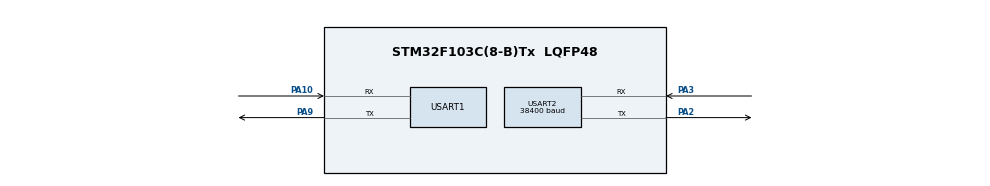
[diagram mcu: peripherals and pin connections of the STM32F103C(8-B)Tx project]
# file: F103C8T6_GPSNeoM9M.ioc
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Mcu.Family=STM32F1
Mcu.Name=STM32F103C(8-B)Tx
Mcu.Package=LQFP48
NVIC.PriorityGroup=NVIC_PRIORITYGROUP_4
NVIC.USART2_IRQn=true\:0\:0\:false\:false\:true\:true\:true\:true
PA10.Mode=Asynchronous
PA10.Signal=USART1_RX
PA13.Mode=Serial_Wire
PA13.Signal=SYS_JTMS-SWDIO
PA14.Mode=Serial_Wire
PA14.Signal=SYS_JTCK-SWCLK
PA2.Mode=Asynchronous
PA2.Signal=USART2_TX
PA3.Mode=Asynchronous
PA3.Signal=USART2_RX
PA9.Mode=Asynchronous
PA9.Signal=USART1_TX
PC14-OSC32_IN.Mode=LSE-External-Oscillator
PC14-OSC32_IN.Signal=RCC_OSC32_IN
PC15-OSC32_OUT.Mode=LSE-External-Oscillator
PC15-OSC32_OUT.Signal=RCC_OSC32_OUT
PD0-OSC_IN.Mode=HSE-External-Oscillator
PD0-OSC_IN.Signal=RCC_OSC_IN
PD1-OSC_OUT.Mode=HSE-External-Oscillator
PD1-OSC_OUT.Signal=RCC_OSC_OUT
ProjectManager.HeapSize=0x200
ProjectManager.StackSize=0x400
ProjectManager.TargetToolchain=STM32CubeIDE
RCC.APB1Freq_Value=8000000
RCC.APB2Freq_Value=8000000
USART1.VirtualMode=VM_ASYNC
USART2.BaudRate=38400
USART2.VirtualMode=VM_ASYNC
board=custom

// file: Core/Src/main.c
/* USER CODE BEGIN Header */
/**
 ******************************************************************************
 * @file           : main.c
 * @brief          : Main program body
 ******************************************************************************
 * @attention
 *
 * Copyright (c) 2025 STMicroelectronics.
 * All rights reserved.
 *
 * This software is licensed under terms that can be found in the LICENSE file
 * in the root directory of this software component.
 * If no LICENSE file comes with this software, it is provided AS-IS.
 *
 ******************************************************************************
 */
/* USER CODE END Header */
#include "main.h"

/* USER CODE BEGIN Includes */
#include <stdio.h>
#include <string.h>
#include <stdlib.h>
/* USER CODE END Includes */

UART_HandleTypeDef huart1;
UART_HandleTypeDef huart2;

/* USER CODE BEGIN PV */
#define GPS_BUFFER_SIZE 256
uint8_t rx2_byte;
volatile char gps_buffer[GPS_BUFFER_SIZE];
volatile uint16_t gps_index = 0;
volatile uint8_t sentence_ready = 0;
char nmea_sentence[GPS_BUFFER_SIZE];
/* USER CODE END PV */

void SystemClock_Config(void);
static void MX_GPIO_Init(void);
static void MX_USART1_UART_Init(void);
static void MX_USART2_UART_Init(void);
/* USER CODE BEGIN PFP */
void parse_nmea(char *nmea);
void process_gpgga(char *sentence);
void process_gprmc(char *sentence);

/* USER CODE END PFP */

/* USER CODE BEGIN 0 */
int _write(int file, char *ptr, int len) {
	HAL_UART_Transmit(&huart1, (uint8_t*) ptr, len, HAL_MAX_DELAY);
	return len;
}
/* USER CODE END 0 */

int main(void) {

	/* MCU Configuration--------------------------------------------------------*/

	/* Reset of all peripherals, Initializes the Flash interface and the Systick. */
	HAL_Init();

	/* Configure the system clock */
	SystemClock_Config();

	/* Initialize all configured peripherals */
	MX_GPIO_Init();
	MX_USART1_UART_Init();
	MX_USART2_UART_Init();
	/* USER CODE BEGIN 2 */
	printf("\r\n7Semi NEO-M9N GPS Reader (STM32)\r\n");
	printf("Waiting for satellite data...\r\n\r\n");

	HAL_UART_Receive_IT(&huart2, &rx2_byte, 1);
	/* USER CODE END 2 */

	/* Infinite loop */
	while (1) {

		/* USER CODE BEGIN 3 */
		if (sentence_ready) {
			__disable_irq();
			strcpy(nmea_sentence, (char*) gps_buffer);
			sentence_ready = 0;
			__enable_irq();

			parse_nmea(nmea_sentence);
		}
	}
	/* USER CODE END 3 */
}

void SystemClock_Config(void) {
	RCC_OscInitTypeDef RCC_OscInitStruct = { 0 };
	RCC_ClkInitTypeDef RCC_ClkInitStruct = { 0 };

	/** Initializes the RCC Oscillators according to the specified parameters
	 * in the RCC_OscInitTypeDef structure.
	 */
	RCC_OscInitStruct.OscillatorType = RCC_OSCILLATORTYPE_HSI;
	RCC_OscInitStruct.HSIState = RCC_HSI_ON;
	RCC_OscInitStruct.HSICalibrationValue = RCC_HSICALIBRATION_DEFAULT;
	RCC_OscInitStruct.PLL.PLLState = RCC_PLL_NONE;
	if (HAL_RCC_OscConfig(&RCC_OscInitStruct) != HAL_OK) {
		Error_Handler();
	}

	/** Initializes the CPU, AHB and APB buses clocks
	 */
	RCC_ClkInitStruct.ClockType = RCC_CLOCKTYPE_HCLK | RCC_CLOCKTYPE_SYSCLK
			| RCC_CLOCKTYPE_PCLK1 | RCC_CLOCKTYPE_PCLK2;
	RCC_ClkInitStruct.SYSCLKSource = RCC_SYSCLKSOURCE_HSI;
	RCC_ClkInitStruct.AHBCLKDivider = RCC_SYSCLK_DIV1;
	RCC_ClkInitStruct.APB1CLKDivider = RCC_HCLK_DIV1;
	RCC_ClkInitStruct.APB2CLKDivider = RCC_HCLK_DIV1;

	if (HAL_RCC_ClockConfig(&RCC_ClkInitStruct, FLASH_LATENCY_0) != HAL_OK) {
		Error_Handler();
	}
}

static void MX_USART1_UART_Init(void) {

	huart1.Instance = USART1;
	huart1.Init.BaudRate = 115200;
	huart1.Init.WordLength = UART_WORDLENGTH_8B;
	huart1.Init.StopBits = UART_STOPBITS_1;
	huart1.Init.Parity = UART_PARITY_NONE;
	huart1.Init.Mode = UART_MODE_TX_RX;
	huart1.Init.HwFlowCtl = UART_HWCONTROL_NONE;
	huart1.Init.OverSampling = UART_OVERSAMPLING_16;
	if (HAL_UART_Init(&huart1) != HAL_OK) {
		Error_Handler();
	}

}

static void MX_USART2_UART_Init(void) {

	huart2.Instance = USART2;
	huart2.Init.BaudRate = 38400;
	huart2.Init.WordLength = UART_WORDLENGTH_8B;
	huart2.Init.StopBits = UART_STOPBITS_1;
	huart2.Init.Parity = UART_PARITY_NONE;
	huart2.Init.Mode = UART_MODE_TX_RX;
	huart2.Init.HwFlowCtl = UART_HWCONTROL_NONE;
	huart2.Init.OverSampling = UART_OVERSAMPLING_16;
	if (HAL_UART_Init(&huart2) != HAL_OK) {
		Error_Handler();
	}

}

static void MX_GPIO_Init(void) {

	/* GPIO Ports Clock Enable */
	__HAL_RCC_GPIOC_CLK_ENABLE();
	__HAL_RCC_GPIOD_CLK_ENABLE();
	__HAL_RCC_GPIOA_CLK_ENABLE();

}

/* USER CODE BEGIN 4 */
void HAL_UART_RxCpltCallback(UART_HandleTypeDef *huart) {
	if (huart->Instance == USART2) {
		if (rx2_byte == '\n') {
			gps_buffer[gps_index] = '\0';
			gps_index = 0;
			sentence_ready = 1;
		} else {
			if (gps_index < GPS_BUFFER_SIZE - 1)
				gps_buffer[gps_index++] = rx2_byte;
		}

		HAL_UART_Receive_IT(&huart2, &rx2_byte, 1);
	}
}

void parse_nmea(char *nmea) {
	if (strstr(nmea, "$GPGGA") || strstr(nmea, "$GNGGA")) {
		process_gpgga(nmea);
	} else if (strstr(nmea, "$GPRMC") || strstr(nmea, "$GNRMC")) {
		process_gprmc(nmea);
	}
}

// --- GGA: Altitude, Satellites, HDOP ---
void process_gpgga(char *sentence) {
	char copy[GPS_BUFFER_SIZE];
	strcpy(copy, sentence);

	char *fields[15];
	int i = 0;
	char *token = strtok(copy, ",");
	while (token && i < 15) {
		fields[i++] = token;
		token = strtok(NULL, ",");
	}

	if (i < 10)
		return;

	double raw_lat = atof(fields[2]);
	double raw_lon = atof(fields[4]);
	char ns = fields[3][0];
	char ew = fields[5][0];
	int sats = atoi(fields[7]);
	double hdop = atof(fields[8]);
	double alt = atof(fields[9]);

	if (raw_lat == 0 || raw_lon == 0)
		return;

	int lat_deg = (int) (raw_lat / 100);
	double lat_min = raw_lat - (lat_deg * 100);
	double latitude = lat_deg + (lat_min / 60.0);

	int lon_deg = (int) (raw_lon / 100);
	double lon_min = raw_lon - (lon_deg * 100);
	double longitude = lon_deg + (lon_min / 60.0);

	if (ns == 'S')
		latitude = -latitude;
	if (ew == 'W')
		longitude = -longitude;

	printf("===============================\r\n");
	printf("Latitude  : %.7f\r\n", latitude);
	printf("Longitude : %.7f\r\n", longitude);
	printf("Satellites: %d\r\n", sats);
	printf("Accuracy  : ±%.1f m\r\n", hdop);
	printf("Altitude  : %.1f m\r\n", alt);
	printf("===============================\r\n\r\n");
}

// --- RMC: Optional, only prints coords if GGA missed ---
void process_gprmc(char *sentence) {
	char copy[GPS_BUFFER_SIZE];
	strcpy(copy, sentence);

	char *fields[15];
	int i = 0;
	char *token = strtok(copy, ",");
	while (token && i < 15) {
		fields[i++] = token;
		token = strtok(NULL, ",");
	}

	if (i < 7)
		return;

	double raw_lat = atof(fields[3]);
	double raw_lon = atof(fields[5]);
	char ns = fields[4][0];
	char ew = fields[6][0];

	if (raw_lat == 0 || raw_lon == 0)
		return;

	int lat_deg = (int) (raw_lat / 100);
	double lat_min = raw_lat - (lat_deg * 100);
	double latitude = lat_deg + (lat_min / 60.0);

	int lon_deg = (int) (raw_lon / 100);
	double lon_min = raw_lon - (lon_deg * 100);
	double longitude = lon_deg + (lon_min / 60.0);

	if (ns == 'S')
		latitude = -latitude;
	if (ew == 'W')
		longitude = -longitude;

	printf("[RMC backup] Lat: %.7f, Lon: %.7f\r\n", latitude, longitude);
}

/* USER CODE END 4 */

void Error_Handler(void) {
	__disable_irq();
	while (1) {
	}
}
